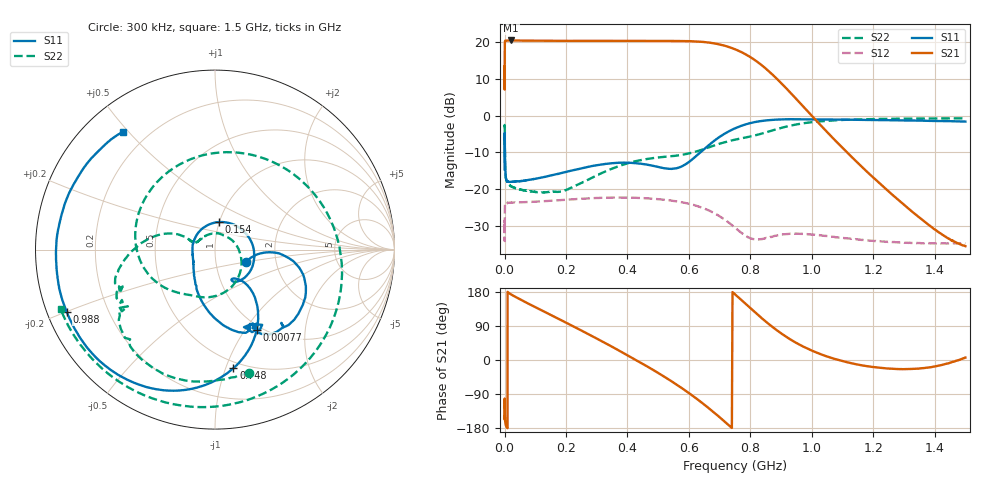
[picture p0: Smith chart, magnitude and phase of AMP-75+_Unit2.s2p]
!Mini-Circuits Lab.;
!S-parameters;
!Model: AMP-75+;  Unit 2;
!Run: MN99030;  Lot: N/A;  Date Code: 1032; Vcc=15V; Icc=26.66mA;
!Fixture: 90-0-16-01;  S/N:72896;  Cal.Due: 12/17/2011;
!Connection: Port 1 to Pin 2; Port 2 to Pin 4; Pin 1 - DC Supply; Pin 3 - grounded; Port extension done on both ports.
!Tested with PNA-L Network Analyzer N5230A, S/N: 67766; Cal.Due: 09/22/2012.
# MHZ S DB R 50
!Frequency  S11 dB  S11 DEG  S21 dB  S21 DEG  S12 dB  S12 DEG  S22 dB  S22 DEG
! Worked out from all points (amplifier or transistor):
!   1241 points, 300 kHz to 1.5 GHz, reference 50 ohm
!   highest |S21| = 20.5 dB at 22 MHz (marker M1)
!   |S21| within 3 dB of that: 812.5 kHz to 766.5 MHz (765.7 MHz wide, 200 % of centre)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
!   unconditionally stable (mu >= 1): start of sweep to 202.7 MHz; 1.016 GHz to end of sweep
!   at 33 MHz: K = 1.06, MAG = 20.6 dB, |S12| = -23.6 dB
!   at 380 MHz: K = 0.92, MSG = 21.3 dB, |S12| = -22.3 dB
!   at 1.5 GHz: K = 74.92, MAG = -22.1 dB, |S12| = -34.8 dB
!   S11 on the Smith chart (normalised r, x): 300 kHz: 1.41, -0.19; 770 kHz: 0.95, -1.13; 154 MHz: 0.99, +0.31; 748 MHz: 0.45, -1.06; 988 MHz: 0.06, -0.20; 1.5 GHz: 0.11, +0.48
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0.3  -14.60 -20.9  13.47 -148.3  -29.63 40.0  -2.92 -74.6
0.41  -7.10 -8.4  8.14 -149.4  -32.15 27.9  -2.67 -93.2
0.53  -4.77 -31.9  11.32 -102.3  -34.04 49.2  -2.55 -116.9
0.77  -5.97 -62.4  17.42 -119.7  -28.42 59.6  -4.27 -153.7
1  -7.53 -84.3  19.47 -134.6  -25.59 48.5  -6.69 -179.0
2.8  -15.14 -132.4  20.47 -167.0  -23.89 15.0  -15.37 157.6
22  -18.01 174.3  20.53 172.8  -23.64 -0.8  -19.23 157.6
154  -16.20 82.4  20.43 117.5  -23.14 -23.0  -20.70 80.6
251  -14.34 29.7  20.42 77.4  -22.62 -41.9  -18.27 11.1
389  -12.77 -32.4  20.41 17.7  -22.29 -74.8  -13.24 -60.3
502  -13.99 -61.2  20.39 -35.1  -22.74 -106.7  -11.34 -101.2
570  -14.03 -54.5  20.39 -70.3  -23.47 -128.2  -10.74 -119.5
624  -10.96 -47.9  20.26 -101.4  -24.52 -146.9  -9.73 -134.2
692  -6.22 -61.1  19.58 -145.4  -26.97 -170.4  -7.83 -164.2
748  -3.50 -81.1  18.21 174.9  -30.34 176.8  -6.54 154.8
752  -3.35 -82.7  18.07 172.0  -30.59 176.4  -6.48 151.2
826  -1.55 -110.8  14.50 118.2  -33.73 -173.0  -5.11 76.7
894  -1.01 -133.3  9.45 73.9  -32.52 -173.9  -3.46 11.1
988  -0.95 -157.1  1.09 29.3  -32.34 165.7  -1.86 -50.1
1002  -0.96 -160.2  -0.17 24.2  -32.38 162.7  -1.72 -56.8
1252  -1.20 158.1  -20.75 -22.7  -34.41 118.4  -0.83 -126.0
1500  -1.58 128.1  -35.53 6.5  -34.80 84.4  -0.70 -158.8
